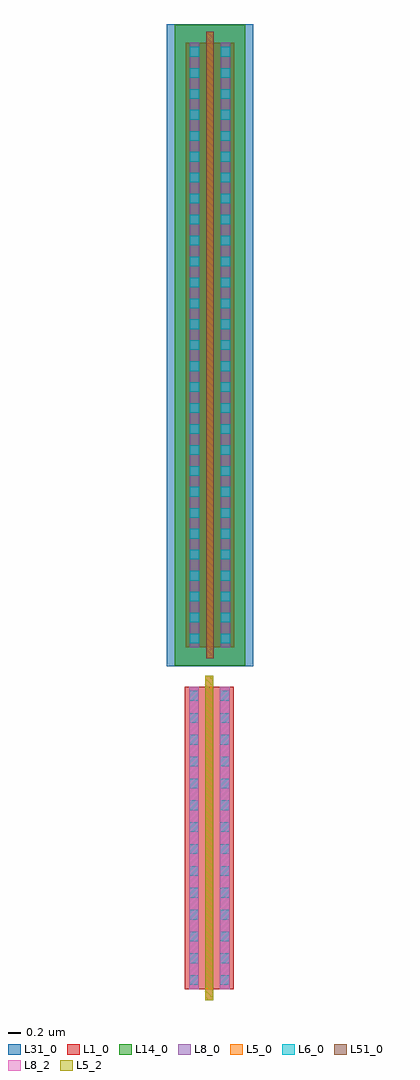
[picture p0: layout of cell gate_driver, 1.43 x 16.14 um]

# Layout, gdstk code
import gdstk
lib = gdstk.Library(unit=1e-6, precision=1e-09)
def R(c, l, rs):  # rectangles x0, y0, x1, y1
    for r in rs: c.add(gdstk.rectangle(r[:2], r[2:], *l))
def A(c, l, x, y, w, h, nx, ny, dx, dy):  # array of equal rectangles
    R(c, l, [(x+i*dx, y+j*dy, x+i*dx+w, y+j*dy+h) for i in range(nx) for j in range(ny)])
L1_0 = (1, 0)
L5_0 = (5, 0)
L5_2 = (5, 2)
L6_0 = (6, 0)
L8_0 = (8, 0)
L8_2 = (8, 2)
L14_0 = (14, 0)
L31_0 = (31, 0)
L51_0 = (51, 0)

nmos = lib.new_cell('nmos')
R(nmos, L1_0, [(0,0,0.3,0.3), (0,0,0.81,5), (0.51,0,0.81,0.3)])
R(nmos, L5_0, [(0.34,-0.18,0.47,5.18)])
R(nmos, L5_2, [(0.34,-0.18,0.47,5.18)])
A(nmos, L6_0, 0.07, 0.07, 0.16, 0.16, 1, 4, 0, 0.36)
A(nmos, L6_0, 0.58, 0.07, 0.16, 0.16, 1, 4, 0, 0.36)
A(nmos, L6_0, 0.07, 1.515, 0.16, 0.16, 1, 3, 0, 0.36)
A(nmos, L6_0, 0.58, 1.515, 0.16, 0.16, 1, 3, 0, 0.36)
A(nmos, L6_0, 0.07, 2.6, 0.16, 0.16, 1, 3, 0, 0.36)
A(nmos, L6_0, 0.58, 2.6, 0.16, 0.16, 1, 3, 0, 0.36)
A(nmos, L6_0, 0.07, 3.685, 0.16, 0.16, 1, 3, 0, 0.36)
A(nmos, L6_0, 0.58, 3.685, 0.16, 0.16, 1, 3, 0, 0.36)
R(nmos, L6_0, [(0.07,4.77,0.23,4.93), (0.58,4.77,0.74,4.93)])
R(nmos, L8_0, [(0.07,0,0.23,5), (0.58,0,0.74,5)])
R(nmos, L8_2, [(0.07,0,0.23,5), (0.58,0,0.74,5)])
R(nmos, L51_0, [(0.34,-0.18,0.47,5.18)])
nmos.add(gdstk.Label('nmos', (0.405,2.5), layer=63, texttype=0))
nmos.add(gdstk.Label('nmos', (0.405,2.5), layer=51, texttype=0))

pmos = lib.new_cell('pmos')
R(pmos, L1_0, [(0,0,0.3,0.3), (0,0,0.81,10), (0.51,0,0.81,0.3)])
R(pmos, L5_0, [(0.34,-0.18,0.47,10.18), (0.34,-0.18,0.47,10.18)])
A(pmos, L6_0, 0.07, 0.07, 0.16, 0.16, 1, 4, 0, 0.345)
A(pmos, L6_0, 0.58, 0.07, 0.16, 0.16, 1, 4, 0, 0.345)
A(pmos, L6_0, 0.07, 1.455, 0.16, 0.16, 1, 3, 0, 0.345)
A(pmos, L6_0, 0.58, 1.455, 0.16, 0.16, 1, 3, 0, 0.345)
A(pmos, L6_0, 0.07, 2.495, 0.16, 0.16, 1, 4, 0, 0.345)
A(pmos, L6_0, 0.58, 2.495, 0.16, 0.16, 1, 4, 0, 0.345)
A(pmos, L6_0, 0.07, 3.88, 0.16, 0.16, 1, 3, 0, 0.345)
A(pmos, L6_0, 0.58, 3.88, 0.16, 0.16, 1, 3, 0, 0.345)
A(pmos, L6_0, 0.07, 4.92, 0.16, 0.16, 1, 4, 0, 0.345)
A(pmos, L6_0, 0.58, 4.92, 0.16, 0.16, 1, 4, 0, 0.345)
A(pmos, L6_0, 0.07, 6.305, 0.16, 0.16, 1, 3, 0, 0.345)
A(pmos, L6_0, 0.58, 6.305, 0.16, 0.16, 1, 3, 0, 0.345)
A(pmos, L6_0, 0.07, 7.345, 0.16, 0.16, 1, 4, 0, 0.345)
A(pmos, L6_0, 0.58, 7.345, 0.16, 0.16, 1, 4, 0, 0.345)
A(pmos, L6_0, 0.07, 8.73, 0.16, 0.16, 1, 3, 0, 0.345)
A(pmos, L6_0, 0.58, 8.73, 0.16, 0.16, 1, 3, 0, 0.345)
R(pmos, L6_0, [(0.07,9.77,0.23,9.93), (0.58,9.77,0.74,9.93)])
R(pmos, L8_0, [(0.07,0,0.23,10), (0.07,0,0.23,10), (0.58,0,0.74,10), (0.58,0,0.74,10)])
R(pmos, L14_0, [(-0.18,-0.3,0.99,10.3)])
R(pmos, L31_0, [(-0.31,-0.31,1.12,10.31)])
R(pmos, L51_0, [(0.34,-0.18,0.47,10.18)])
pmos.add(gdstk.Label('pmos', (0.405,5), layer=63, texttype=0))
pmos.add(gdstk.Label('pmos', (0.405,5), layer=51, texttype=0))

gate_driver = lib.new_cell('gate_driver')
gate_driver.add(gdstk.Reference(nmos, (-0.41,-5.32)))
gate_driver.add(gdstk.Reference(pmos, (-0.4,0.33)))

lib.write_gds('gate_driver.gds')
